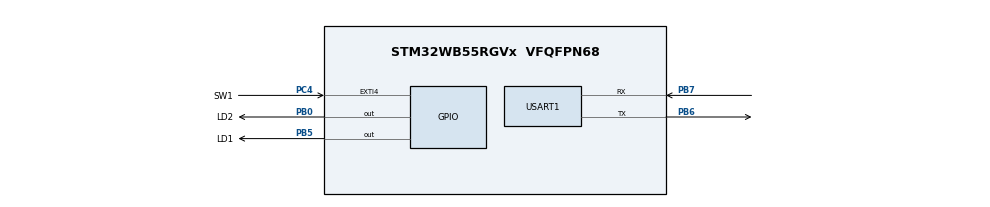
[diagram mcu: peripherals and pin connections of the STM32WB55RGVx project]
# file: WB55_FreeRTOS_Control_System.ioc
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FREERTOS.Tasks01=defaultTask,24,128,StartDefaultTask,Default,NULL,Dynamic,NULL,NULL
FREERTOS.configCHECK_FOR_STACK_OVERFLOW=2
FREERTOS.configTOTAL_HEAP_SIZE=24576
Mcu.Family=STM32WB
Mcu.Name=STM32WB55RGVx
Mcu.Package=VFQFPN68
NVIC.EXTI4_IRQn=true\:5\:0\:true\:false\:true\:true\:true\:true\:true
NVIC.PriorityGroup=NVIC_PRIORITYGROUP_4
NVIC.TIM1_TRG_COM_TIM17_IRQn=true\:15\:0\:false\:false\:true\:false\:false\:true\:true
NVIC.TimeBase=TIM1_TRG_COM_TIM17_IRQn
NVIC.TimeBaseIP=TIM17
NVIC.USART1_IRQn=true\:5\:0\:true\:false\:true\:true\:true\:true\:true
PB0.GPIO_Label=LD2
PB0.Signal=GPIO_Output
PB5.GPIO_Label=LD1
PB5.Signal=GPIO_Output
PB6.Mode=Asynchronous
PB6.Signal=USART1_TX
PB7.Mode=Asynchronous
PB7.Signal=USART1_RX
PC4.GPIO_Label=SW1
PC4.GPIO_ModeDefaultEXTI=GPIO_MODE_IT_FALLING
PC4.GPIO_PuPd=GPIO_PULLUP
PC4.Signal=GPXTI4
ProjectManager.HeapSize=0x200
ProjectManager.StackSize=0x400
ProjectManager.TargetToolchain=STM32CubeIDE
RCC.APB3Freq_Value=16000000
RCC.HSE_VALUE=8000000
RCC.HSI48_VALUE=48000000
RCC.HSI_VALUE=16000000
RCC.LSE_VALUE=32768
RCC.VCOOutputFreq_Value=32000000
USART1.VirtualMode-Asynchronous=VM_ASYNC
VP_FREERTOS_VS_CMSIS_V2.Mode=CMSIS_V2
VP_MEMORYMAP_VS_MEMORYMAP.Mode=CurAppReg
VP_SYS_VS_tim17.Mode=TIM17
board=custom

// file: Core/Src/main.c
/* USER CODE BEGIN Header */

/**

  ******************************************************************************

  * @file           : main.c

  * @brief          : Main program body

  ******************************************************************************

  * @attention

  *

  * Copyright (c) 2026 STMicroelectronics.

  * All rights reserved.

  *

  * This software is licensed under terms that can be found in the LICENSE file

  * in the root directory of this software component.

  * If no LICENSE file comes with this software, it is provided AS-IS.

  *

  ******************************************************************************

  */

/* USER CODE END Header */

#include "main.h"

#include "cmsis_os2.h"

#include "FreeRTOS.h"

/* USER CODE BEGIN Includes */

#include "rtos/app_tasks.h"
#include "rtos/command_queue.h"
#include "rtos/button_semaphore.h"
#include "rtos/uart_mutex.h"
#include "rtos/system_events.h"
#include "rtos/app_timers.h"
#include "rtos/uart_cli.h"

/* USER CODE END Includes */

UART_HandleTypeDef huart1;

/* Definitions for defaultTask */

osThreadId_t defaultTaskHandle;

const osThreadAttr_t defaultTask_attributes = {

  .name = "defaultTask",

  .priority = (osPriority_t) osPriorityNormal,

  .stack_size = 128 * 4

};

void SystemClock_Config(void);

void PeriphCommonClock_Config(void);

static void MX_GPIO_Init(void);

static void MX_USART1_UART_Init(void);

void StartDefaultTask(void *argument);

int main(void)

{

  /* MCU Configuration--------------------------------------------------------*/

  /* Reset of all peripherals, Initializes the Flash interface and the Systick. */

  HAL_Init();

  /* Configure the system clock */

  SystemClock_Config();

  /* Configure the peripherals common clocks */

  PeriphCommonClock_Config();

  /* Initialize all configured peripherals */

  MX_GPIO_Init();

  MX_USART1_UART_Init();

  /* Init scheduler */

  osKernelInitialize();

  /* USER CODE BEGIN RTOS_MUTEX */

  /*
   * FREERTOS CONCEPT: MUTEX
   * Protect the shared USART1 peripheral.
   * Implementation:
   * Core/Src/rtos/uart_mutex.c
   */
  UartMutex_Init();

/* USER CODE END RTOS_MUTEX */

  /* USER CODE BEGIN RTOS_SEMAPHORES */

  /*
   * FREERTOS CONCEPT: BINARY SEMAPHORE
   * Creation is implemented in:
   * Core/Src/rtos/button_semaphore.c
   */
  ButtonSemaphore_Init();

/* USER CODE END RTOS_SEMAPHORES */

  /* USER CODE BEGIN RTOS_TIMERS */

  /*
   * FREERTOS CONCEPT: SOFTWARE TIMERS
   *
   * - HeartbeatTimer   : periodic
   * - RunWarningTimer  : one-shot
   *
   * Full implementation:
   * Core/Src/rtos/app_timers.c
   */
  AppTimers_Init();

/* USER CODE END RTOS_TIMERS */

  /* USER CODE BEGIN RTOS_QUEUES */

  /*
   * Application command queue:
   * ButtonTask / UartRxTask / Timer callbacks -> ControlTask
   */
  CommandQueue_Init();

  /*
   * USART1 receive-byte queue:
   * UART ISR -> UartRxTask
   *
   * Full UART command implementation:
   * Core/Src/rtos/uart_cli.c
   */
  UartCli_Init();

/* USER CODE END RTOS_QUEUES */

  /* Create the thread(s) */

  /* creation of defaultTask */

  defaultTaskHandle = osThreadNew(StartDefaultTask, NULL, &defaultTask_attributes);

  /* USER CODE BEGIN RTOS_THREADS */

  /* Application tasks are created in Core/Src/rtos/app_tasks.c */
  AppTasks_Init();

/* USER CODE END RTOS_THREADS */

  /* USER CODE BEGIN RTOS_EVENTS */

  /*
   * FREERTOS CONCEPT: EVENT FLAGS
   * Implementation:
   * Core/Src/rtos/system_events.c
   */
  SystemEvents_Init();

/* USER CODE END RTOS_EVENTS */

  /* Start scheduler */

  osKernelStart();

  /* We should never get here as control is now taken by the scheduler */

  /* Infinite loop */

  while (1)
  {

  }

}

void SystemClock_Config(void)

{

  RCC_OscInitTypeDef RCC_OscInitStruct = {0};

  RCC_ClkInitTypeDef RCC_ClkInitStruct = {0};

  /** Configure the main internal regulator output voltage

  */

  __HAL_PWR_VOLTAGESCALING_CONFIG(PWR_REGULATOR_VOLTAGE_SCALE1);

  /** Initializes the RCC Oscillators according to the specified parameters

  * in the RCC_OscInitTypeDef structure.

  */

  RCC_OscInitStruct.OscillatorType = RCC_OSCILLATORTYPE_HSI|RCC_OSCILLATORTYPE_MSI;

  RCC_OscInitStruct.HSIState = RCC_HSI_ON;

  RCC_OscInitStruct.MSIState = RCC_MSI_ON;

  RCC_OscInitStruct.HSICalibrationValue = RCC_HSICALIBRATION_DEFAULT;

  RCC_OscInitStruct.MSICalibrationValue = RCC_MSICALIBRATION_DEFAULT;

  RCC_OscInitStruct.MSIClockRange = RCC_MSIRANGE_6;

  RCC_OscInitStruct.PLL.PLLState = RCC_PLL_NONE;

  if (HAL_RCC_OscConfig(&RCC_OscInitStruct) != HAL_OK)

  {

    Error_Handler();

  }

  /** Configure the SYSCLKSource, HCLK, PCLK1 and PCLK2 clocks dividers

  */

  RCC_ClkInitStruct.ClockType = RCC_CLOCKTYPE_HCLK4|RCC_CLOCKTYPE_HCLK2

                              |RCC_CLOCKTYPE_HCLK|RCC_CLOCKTYPE_SYSCLK

                              |RCC_CLOCKTYPE_PCLK1|RCC_CLOCKTYPE_PCLK2;

  RCC_ClkInitStruct.SYSCLKSource = RCC_SYSCLKSOURCE_MSI;

  RCC_ClkInitStruct.AHBCLKDivider = RCC_SYSCLK_DIV1;

  RCC_ClkInitStruct.APB1CLKDivider = RCC_HCLK_DIV1;

  RCC_ClkInitStruct.APB2CLKDivider = RCC_HCLK_DIV1;

  RCC_ClkInitStruct.AHBCLK2Divider = RCC_SYSCLK_DIV1;

  RCC_ClkInitStruct.AHBCLK4Divider = RCC_SYSCLK_DIV1;

  if (HAL_RCC_ClockConfig(&RCC_ClkInitStruct, FLASH_LATENCY_0) != HAL_OK)

  {

    Error_Handler();

  }

}

void PeriphCommonClock_Config(void)

{

  RCC_PeriphCLKInitTypeDef PeriphClkInitStruct = {0};

  /** Initializes the peripherals clock

  */

  PeriphClkInitStruct.PeriphClockSelection = RCC_PERIPHCLK_SMPS;

  PeriphClkInitStruct.SmpsClockSelection = RCC_SMPSCLKSOURCE_HSI;

  PeriphClkInitStruct.SmpsDivSelection = RCC_SMPSCLKDIV_RANGE1;

  if (HAL_RCCEx_PeriphCLKConfig(&PeriphClkInitStruct) != HAL_OK)

  {

    Error_Handler();

  }

}

static void MX_USART1_UART_Init(void)

{

  huart1.Instance = USART1;

  huart1.Init.BaudRate = 115200;

  huart1.Init.WordLength = UART_WORDLENGTH_8B;

  huart1.Init.StopBits = UART_STOPBITS_1;

  huart1.Init.Parity = UART_PARITY_NONE;

  huart1.Init.Mode = UART_MODE_TX_RX;

  huart1.Init.HwFlowCtl = UART_HWCONTROL_NONE;

  huart1.Init.OverSampling = UART_OVERSAMPLING_16;

  huart1.Init.OneBitSampling = UART_ONE_BIT_SAMPLE_DISABLE;

  huart1.Init.ClockPrescaler = UART_PRESCALER_DIV1;

  huart1.AdvancedInit.AdvFeatureInit = UART_ADVFEATURE_NO_INIT;

  if (HAL_UART_Init(&huart1) != HAL_OK)

  {

    Error_Handler();

  }

  if (HAL_UARTEx_SetTxFifoThreshold(&huart1, UART_TXFIFO_THRESHOLD_1_8) != HAL_OK)

  {

    Error_Handler();

  }

  if (HAL_UARTEx_SetRxFifoThreshold(&huart1, UART_RXFIFO_THRESHOLD_1_8) != HAL_OK)

  {

    Error_Handler();

  }

  if (HAL_UARTEx_DisableFifoMode(&huart1) != HAL_OK)

  {

    Error_Handler();

  }

}

static void MX_GPIO_Init(void)

{

  GPIO_InitTypeDef GPIO_InitStruct = {0};

  /* GPIO Ports Clock Enable */

  __HAL_RCC_GPIOC_CLK_ENABLE();

  __HAL_RCC_GPIOB_CLK_ENABLE();

  /*Configure GPIO pin Output Level */

  HAL_GPIO_WritePin(GPIOB, LD2_Pin|LD1_Pin, GPIO_PIN_RESET);

  /*Configure GPIO pin : SW1_Pin */

  GPIO_InitStruct.Pin = SW1_Pin;

  GPIO_InitStruct.Mode = GPIO_MODE_IT_FALLING;

  GPIO_InitStruct.Pull = GPIO_PULLUP;

  HAL_GPIO_Init(SW1_GPIO_Port, &GPIO_InitStruct);

  /*Configure GPIO pins : LD2_Pin LD1_Pin */

  GPIO_InitStruct.Pin = LD2_Pin|LD1_Pin;

  GPIO_InitStruct.Mode = GPIO_MODE_OUTPUT_PP;

  GPIO_InitStruct.Pull = GPIO_NOPULL;

  GPIO_InitStruct.Speed = GPIO_SPEED_FREQ_LOW;

  HAL_GPIO_Init(GPIOB, &GPIO_InitStruct);

  /* EXTI interrupt init*/

  HAL_NVIC_SetPriority(EXTI4_IRQn, 5, 0);

  HAL_NVIC_EnableIRQ(EXTI4_IRQn);

}

/* USER CODE BEGIN 4 */

void HAL_GPIO_EXTI_Callback(uint16_t GPIO_Pin)
{
  if (GPIO_Pin == SW1_Pin)
  {
    /*
     * Keep ISR work minimal.
     * The interrupt only signals ButtonTask through the semaphore.
     */
    ButtonSemaphore_NotifyFromISR();
  }
}

/* USER CODE END 4 */

void StartDefaultTask(void *argument)
{
  /* USER CODE BEGIN 5 */
  osThreadExit();
  /* USER CODE END 5 */
}

void HAL_TIM_PeriodElapsedCallback(TIM_HandleTypeDef *htim)

{

  if (htim->Instance == TIM17)

  {

    HAL_IncTick();

  }

}

void Error_Handler(void)

{

  __disable_irq();
  while (1)
  {
  }

}

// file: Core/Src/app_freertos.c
/* USER CODE BEGIN Header */
/**
  ******************************************************************************
  * File Name          : app_freertos.c
  * Description        : Code for freertos applications
  ******************************************************************************
  * @attention
  *
  * Copyright (c) 2026 STMicroelectronics.
  * All rights reserved.
  *
  * This software is licensed under terms that can be found in the LICENSE file
  * in the root directory of this software component.
  * If no LICENSE file comes with this software, it is provided AS-IS.
  *
  ******************************************************************************
  */
/* USER CODE END Header */

#include "FreeRTOS.h"
#include "task.h"
#include "main.h"

/* Hook prototypes */
void vApplicationStackOverflowHook(TaskHandle_t xTask, char *pcTaskName);

/* USER CODE BEGIN 4 */
void vApplicationStackOverflowHook(TaskHandle_t xTask, char *pcTaskName)
{
   /* Run time stack overflow checking is performed if
   configCHECK_FOR_STACK_OVERFLOW is defined to 1 or 2. This hook function is
   called if a stack overflow is detected. */
}
/* USER CODE END 4 */
